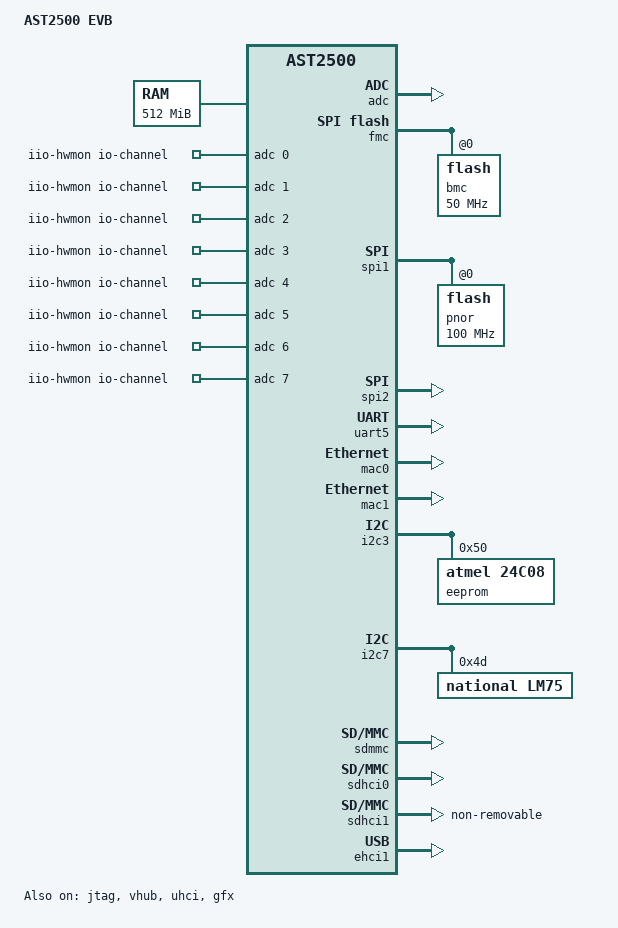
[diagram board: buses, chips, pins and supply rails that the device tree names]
// SPDX-License-Identifier: GPL-2.0+
/dts-v1/;

#include "aspeed-g5.dtsi"

/ {
	model = "AST2500 EVB";
	compatible = "aspeed,ast2500";

	aliases {
		serial4 = &uart5;
		mmc0 = &sdhci0;
		mmc1 = &sdhci1;
	};

	chosen {
		stdout-path = &uart5;
		bootargs = "console=tty0 console=ttyS4,115200 earlyprintk";
	};

	memory@80000000 {
		reg = <0x80000000 0x20000000>;
	};

	reserved-memory {
		#address-cells = <1>;
		#size-cells = <1>;
		ranges;

		gfx_memory: framebuffer {
			size = <0x01000000>;
			alignment = <0x01000000>;
			compatible = "shared-dma-pool";
			reusable;
		};
	};

	iio-hwmon {
		compatible = "iio-hwmon";
		io-channels = <&adc 0>, <&adc 1>, <&adc 2>, <&adc 3>,
				<&adc 4>, <&adc 5>, <&adc 6>, <&adc 7>,
				<&adc 8>, <&adc 9>, <&adc 10>, <&adc 11>,
				<&adc 12>, <&adc 13>, <&adc 14>, <&adc 15>;
	};
};

&adc {
	status = "okay";

	pinctrl-names = "default";
	pinctrl-0 = <&pinctrl_adc0_default &pinctrl_adc1_default
		&pinctrl_adc2_default &pinctrl_adc3_default
		&pinctrl_adc4_default &pinctrl_adc5_default
		&pinctrl_adc6_default &pinctrl_adc7_default
		&pinctrl_adc8_default &pinctrl_adc9_default
		&pinctrl_adc10_default &pinctrl_adc11_default
		&pinctrl_adc12_default &pinctrl_adc13_default
		&pinctrl_adc14_default &pinctrl_adc15_default>;
};

&fmc {
	status = "okay";
	flash@0 {
		status = "okay";
		m25p,fast-read;
		label = "bmc";
		spi-max-frequency = <50000000>;
#include "openbmc-flash-layout.dtsi"
	};
};

&spi1 {
	status = "okay";
	flash@0 {
		status = "okay";
		m25p,fast-read;
		label = "pnor";
		spi-max-frequency = <100000000>;
	};
};

&spi2 {
	status = "okay";
};

&uart5 {
	status = "okay";
};

&mac0 {
	status = "okay";

	pinctrl-names = "default";
	pinctrl-0 = <&pinctrl_rgmii1_default &pinctrl_mdio1_default>;
};

&mac1 {
	status = "okay";

	pinctrl-names = "default";
	pinctrl-0 = <&pinctrl_rgmii2_default &pinctrl_mdio2_default>;
};

&i2c3 {
	status = "okay";

	eeprom@50 {
		compatible = "atmel,24c08";
		reg = <0x50>;
		pagesize = <16>;
	};
};

&i2c7 {
	status = "okay";

	lm75@4d {
		compatible = "national,lm75";
		reg = <0x4d>;
	};
};

&sdmmc {
	status = "okay";
};

&sdhci0 {
	status = "okay";

	pinctrl-names = "default";
	pinctrl-0 = <&pinctrl_sd1_default>;
};

&sdhci1 {
	status = "okay";

	non-removable;
	pinctrl-names = "default";
	pinctrl-0 = <&pinctrl_sd2_default>;
};

&jtag {
	status = "okay";
};


/*
 * Enable port A as device (via the virtual hub) and port B as
 * host by default on the eval board. This can be easily changed
 * by replacing the override below with &ehci0 { ... } to enable
 * host on both ports.
 */
&vhub {
	status = "okay";
};

&ehci1 {
	status = "okay";
};

&uhci {
	status = "okay";
};

&gfx {
     status = "okay";
     memory-region = <&gfx_memory>;
};
